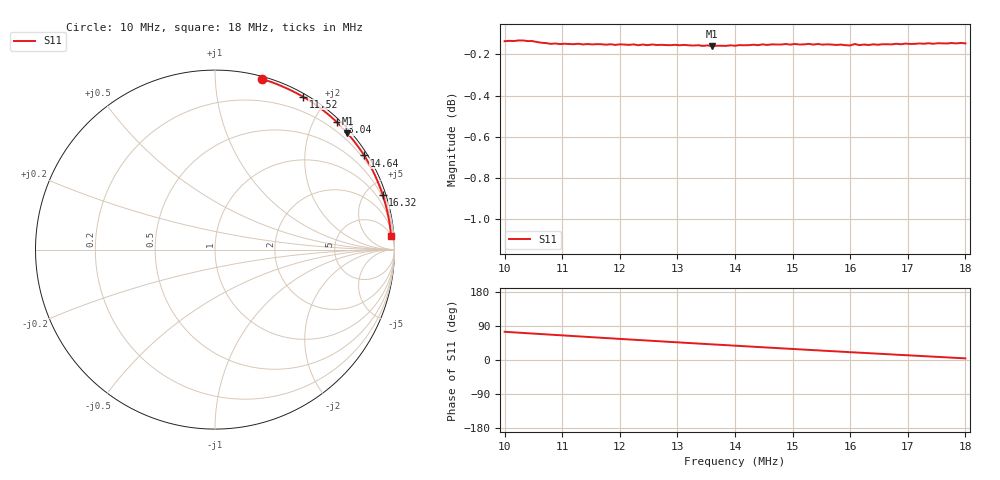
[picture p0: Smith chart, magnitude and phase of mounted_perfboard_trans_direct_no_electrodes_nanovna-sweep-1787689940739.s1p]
! S11 from mounted_perfboard_trans_direct_no_electrodes_nanovna-sweep-1787689940739.csv, converted by the rf-network-modeller history importer
# HZ S RI R 50
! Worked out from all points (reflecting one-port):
!   101 points, 10 MHz to 18 MHz, reference 50 ohm
!   lowest |S11| = -0.2 dB at 13.6 MHz (marker M1), VSWR 109.00, Z = 3.69 + j133 ohm
!   phase of S11 starts at 74 deg and turns -70 deg over the sweep
!   S11 on the Smith chart (normalised r, x): 10 MHz: 0.02, +1.31; 11.52 MHz: 0.03, +1.73; 13.04 MHz: 0.06, +2.34; 14.64 MHz: 0.11, +3.46; 16.32 MHz: 0.36, +6.29; 18 MHz: 6, +25
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1e7  0.2631 0.9487
1.024e7  0.3017 0.9376
1.048e7  0.3391 0.9243
1.104e7  0.4212 0.8883
1.128e7  0.4558 0.871
1.152e7  0.4893 0.8522
1.2e7  0.5535 0.812
1.224e7  0.5845 0.79
1.256e7  0.6237 0.7594
1.304e7  0.6789 0.7098
1.336e7  0.7136 0.675
1.36e7  0.7377 0.6479
1.4e7  0.7758 0.6019
1.432e7  0.8047 0.5637
1.464e7  0.8311 0.5245
1.504e7  0.8613 0.4736
1.544e7  0.8881 0.4213
1.568e7  0.9022 0.3892
1.592e7  0.915 0.3573
1.6e7  0.9195 0.3452
1.608e7  0.9235 0.3366
1.632e7  0.9342 0.304
1.664e7  0.9476 0.2604
1.704e7  0.9612 0.2057
1.736e7  0.9699 0.1619
1.752e7  0.9733 0.14
1.776e7  0.9777 0.1067
1.8e7  0.9805 0.0735
